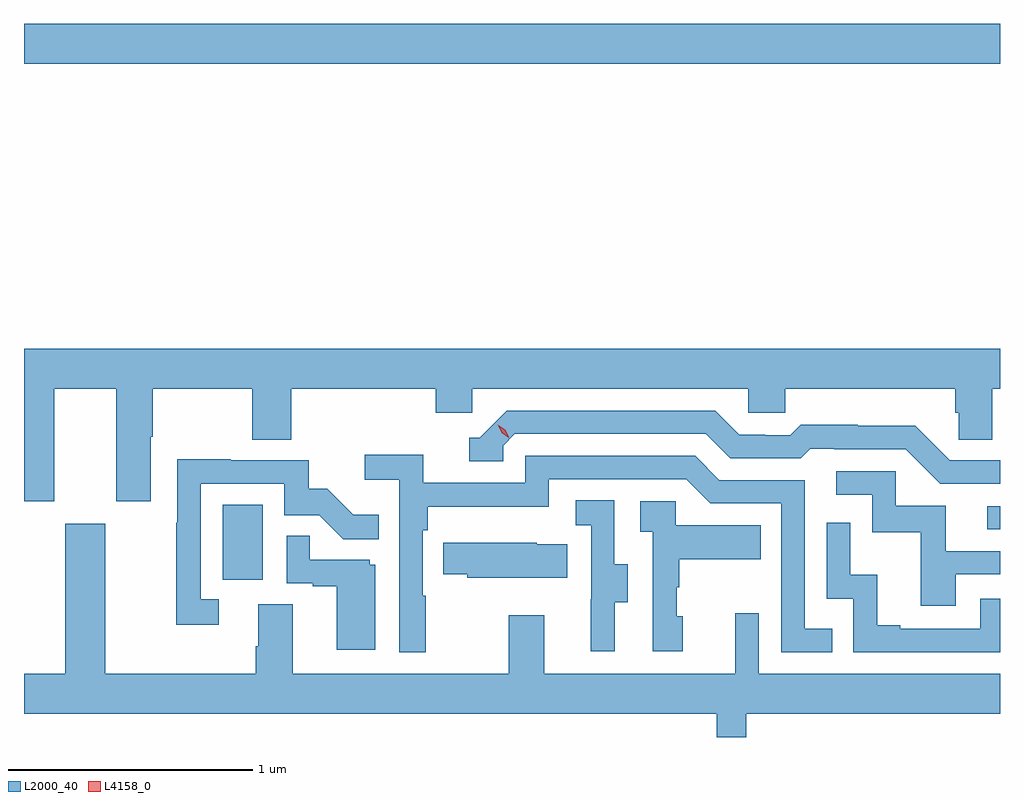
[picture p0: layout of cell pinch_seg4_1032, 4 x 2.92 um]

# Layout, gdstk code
import gdstk
lib = gdstk.Library(unit=1e-6, precision=1e-09)
def R(c, l, rs):  # rectangles x0, y0, x1, y1
    for r in rs: c.add(gdstk.rectangle(r[:2], r[2:], *l))
def P(c, l, *ps):  # polygons
    for p in ps: c.add(gdstk.Polygon(p, *l))
L2000_40 = (2000, 40)
L4158_0 = (4158, 0)

pinch_seg4_1032 = lib.new_cell('pinch_seg4_1032')
R(pinch_seg4_1032, L2000_40, [(803.348,758.742,803.512,759.049), (806.481,758.949,806.534,759.042), (802.534,760.856,806.534,761.02)])
P(pinch_seg4_1032, L2000_40, [(802.657,759.524),(802.913,759.524),(802.913,759.063),(803.053,759.063),(803.053,759.328),(803.061,759.328),(803.061,759.524),(803.47,759.524),(803.47,759.316),(803.63,759.316),(803.63,759.524),(804.221,759.524),(804.221,759.426),(804.372,759.426),(804.372,759.524),(805.503,759.524),(805.503,759.426),(805.653,759.426),(805.653,759.524),(806.351,759.524),(806.351,759.426),(806.365,759.426),(806.365,759.316),(806.502,759.316),(806.502,759.524),(806.534,759.524),(806.534,759.688),(802.534,759.688),(802.534,759.063),(802.657,759.063)],
  [(806.534,759.231),(806.328,759.231),(806.186,759.373),(805.95,759.373),(805.95,759.376),(805.717,759.376),(805.675,759.333),(805.572,759.333),(805.572,759.336),(805.465,759.336),(805.366,759.435),(804.513,759.435),(804.402,759.324),(804.359,759.324),(804.359,759.228),(804.498,759.228),(804.498,759.291),(804.546,759.339),(805.329,759.339),(805.428,759.24),(805.717,759.24),(805.756,759.279),(805.855,759.279),(805.855,759.276),(806.148,759.276),(806.289,759.135),(806.534,759.135)],
  [(804.181,758.675),(804.168,758.675),(804.168,758.945),(804.188,758.945),(804.188,759.041),(804.684,759.041),(804.684,759.153),(805.248,759.153),(805.347,759.054),(805.638,759.054),(805.638,758.445),(805.847,758.445),(805.847,758.541),(805.734,758.541),(805.734,759.15),(805.384,759.15),(805.285,759.249),(804.588,759.249),(804.588,759.138),(804.17,759.138),(804.17,759.254),(803.931,759.254),(803.931,759.152),(804.072,759.152),(804.072,758.445),(804.181,758.445)],
  [(803.332,758.661),(803.259,758.661),(803.259,759.135),(803.601,759.135),(803.601,759.006),(803.745,759.006),(803.843,758.908),(803.987,758.908),(803.987,759.007),(803.883,759.007),(803.776,759.114),(803.7,759.114),(803.7,759.231),(803.381,759.231),(803.381,759.236),(803.163,759.236),(803.163,758.975),(803.158,758.975),(803.158,758.556),(803.332,758.556)],
  [(806.353,758.763),(806.534,758.763),(806.534,758.859),(806.311,758.859),(806.311,759.045),(806.106,759.045),(806.106,759.186),(805.863,759.186),(805.863,759.09),(806.01,759.09),(806.01,758.937),(806.209,758.937),(806.209,758.634),(806.353,758.634)],
  [(804.955,758.65),(805.009,758.65),(805.009,758.805),(804.954,758.805),(804.954,759.068),(804.795,759.068),(804.795,758.965),(804.858,758.965),(804.858,758.661),(804.857,758.661),(804.857,758.448),(804.955,758.448)],
  [(805.234,758.592),(805.209,758.592),(805.209,758.711),(805.219,758.711),(805.219,758.825),(805.553,758.825),(805.553,758.965),(805.206,758.965),(805.206,759.063),(805.059,759.063),(805.059,758.939),(805.11,758.939),(805.11,758.448),(805.234,758.448)],
  [(806.534,758.664),(806.454,758.664),(806.454,758.541),(806.125,758.541),(806.125,758.554),(806.03,758.554),(806.03,758.762),(805.92,758.762),(805.92,758.974),(805.824,758.974),(805.824,758.664),(805.932,758.664),(805.932,758.445),(806.534,758.445)],
  [(805.495,758.192),(806.534,758.192),(806.534,758.356),(805.545,758.356),(805.545,758.605),(805.448,758.605),(805.448,758.356),(804.667,758.356),(804.667,758.596),(804.52,758.596),(804.52,758.356),(803.635,758.356),(803.635,758.642),(803.495,758.642),(803.495,758.468),(803.483,758.468),(803.483,758.356),(802.867,758.356),(802.867,758.971),(802.703,758.971),(802.703,758.356),(802.534,758.356),(802.534,758.192),(805.373,758.192),(805.373,758.096),(805.495,758.096)],
  [(803.974,758.802),(803.952,758.802),(803.952,758.823),(803.705,758.823),(803.705,758.921),(803.61,758.921),(803.61,758.727),(803.717,758.727),(803.717,758.715),(803.816,758.715),(803.816,758.454),(803.974,758.454)],
  [(804.761,758.887),(804.636,758.887),(804.636,758.893),(804.253,758.893),(804.253,758.764),(804.351,758.764),(804.351,758.75),(804.761,758.75)])
P(pinch_seg4_1032, L4158_0, [(804.521,759.324),(804.491,759.344),(804.475,759.377),(804.475,759.377),(804.476,759.377),(804.506,759.357),(804.521,759.325),(804.521,759.324)])

lib.write_gds('pinch_seg4_1032.gds')
